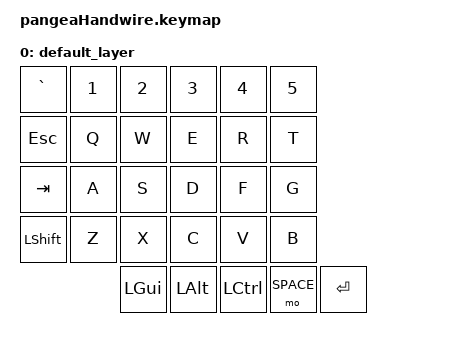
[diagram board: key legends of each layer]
#include <behaviors.dtsi>
#include <dt-bindings/zmk/keys.h>
#include <dt-bindings/zmk/bt.h>

/ {
    keymap {
        compatible = "zmk,keymap";

        default_layer {
            bindings = <
&kp GRAVE &kp N1 &kp N2   &kp N3   &kp N4    &kp N5                           
&kp ESC   &kp Q  &kp W    &kp E    &kp R     &kp T                            
&kp TAB   &kp A  &kp S    &kp D    &kp F     &kp G                            
&kp LSHFT &kp Z  &kp X    &kp C    &kp V     &kp B
                 &kp LGUI &kp LALT &kp LCTRL &mo SPACE &kp RET
            >;
        };
    };
};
